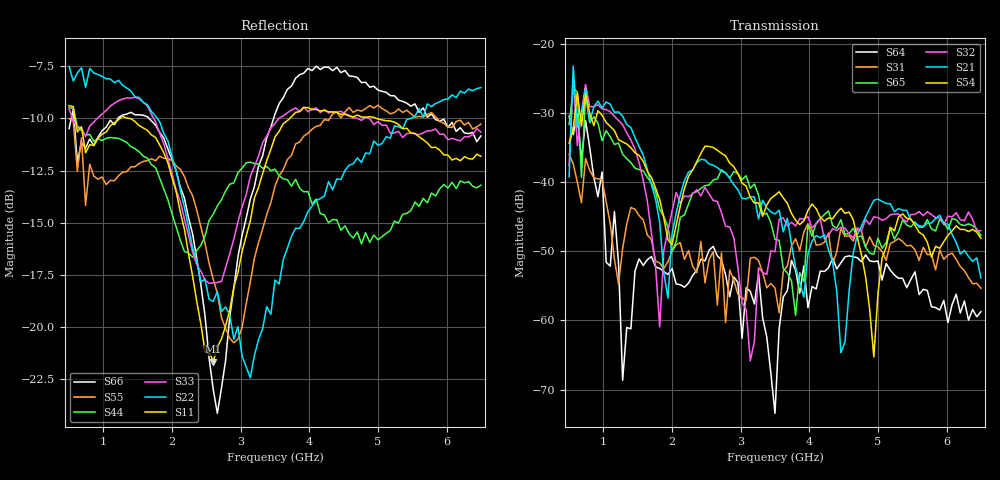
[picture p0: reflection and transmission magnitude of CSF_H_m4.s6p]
!Keysight Technologies,M9804A,MY58100912,A.14.10.03
!Date: Thursday, April 27, 2023 10:28:33
!Correction: S11(C  6-Port  )
!S12(C  6-Port  )
!S13(C  6-Port  )
!S14(C  6-Port  )
!S15(C  6-Port  )
!S16(C  6-Port  )
!S21(C  6-Port  )
!S22(C  6-Port  )
!S23(C  6-Port  )
!S24(C  6-Port  )
!S25(C  6-Port  )
!S26(C  6-Port  )
!S31(C  6-Port  )
!S32(C  6-Port  )
!S33(C  6-Port  )
!S34(C  6-Port  )
!S35(C  6-Port  )
!S36(C  6-Port  )
!S41(C  6-Port  )
!S42(C  6-Port  )
!S43(C  6-Port  )
!S44(C  6-Port  )
!S45(C  6-Port  )
!S46(C  6-Port  )
!S51(C  6-Port  )
!S52(C  6-Port  )
!S53(C  6-Port  )
!S54(C  6-Port  )
!S55(C  6-Port  )
!S56(C  6-Port  )
!S61(C  6-Port  )
!S62(C  6-Port  )
!S63(C  6-Port  )
!S64(C  6-Port  )
!S65(C  6-Port  )
!S66(C  6-Port  )
!S6P File: Measurement: :
# Hz S  RI  R 50
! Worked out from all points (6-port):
!   101 points, 500 MHz to 6.5 GHz, reference 50 ohm
!   strongest paths, dB at 500 MHz, 2 GHz, 3.5 GHz, 5 GHz, 6.5 GHz:
!     S54: -34.4, -49.0, -41.9, -56.2, -48.1
!     S21: -39.2, -47.5, -44.6, -42.5, -53.9
!     S32: -37.6, -44.2, -50.1, -45.1, -47.0
!     S65: -31.7, -50.0, -48.3, -48.1, -47.7
!     S31: -36.0, -50.0, -55.3, -49.3, -55.3
!     S64: -30.5, -52.5, -73.4, -51.4, -58.7
!   lowest |S11| = -21.7 dB at 2.6 GHz (marker M1), VSWR 1.18, Z = 42.6 + j2 ohm
!   |S11| at or under -10 dB: 588 MHz to 1.243 GHz (654.7 MHz wide, 71.5 % of centre); 1.373 GHz to 3.714 GHz (2.341 GHz wide, 92 % of centre); 4.979 GHz to end of sweep
